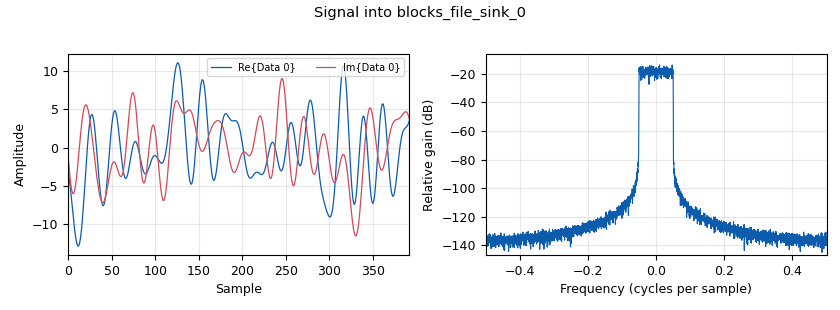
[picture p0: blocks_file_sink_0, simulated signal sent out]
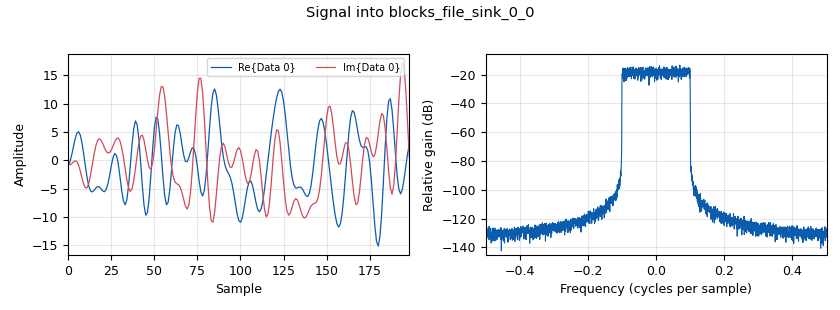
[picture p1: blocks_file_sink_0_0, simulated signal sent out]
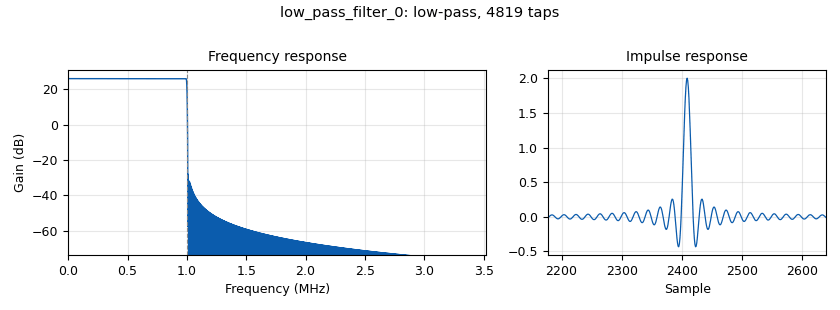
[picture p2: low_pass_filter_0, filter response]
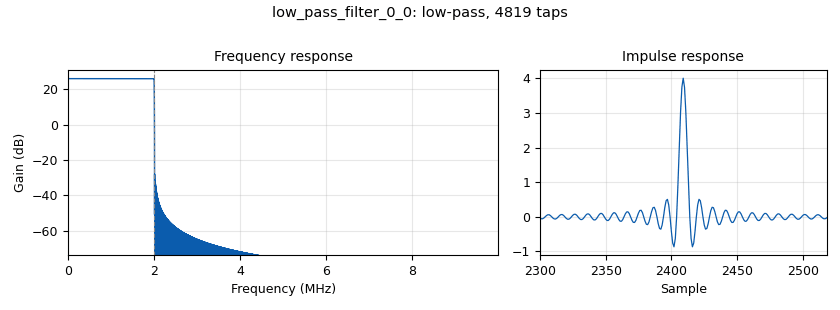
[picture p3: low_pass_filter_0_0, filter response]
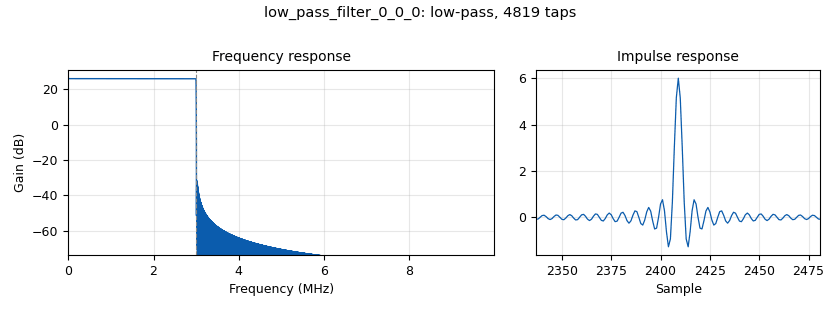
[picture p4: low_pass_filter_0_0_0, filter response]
<?xml version='1.0' encoding='utf-8'?>
<?grc format='1' created='3.7.12'?>
<flow_graph>
<block>
<key>options</key>
<param><key>id</key><value>top_block</value></param>
<param><key>generate_options</key><value>qt_gui</value></param>
</block>
<block>
<key>variable</key>
<param><key>id</key><value>samp_rate</value></param>
<param><key>value</key><value>20e6</value></param>
</block>
<block>
<key>analog_noise_source_x</key>
<param><key>id</key><value>analog_noise_source_x_0</value></param>
<param><key>amp</key><value>1</value></param>
<param><key>noise_type</key><value>analog.GR_GAUSSIAN</value></param>
<param><key>type</key><value>complex</value></param>
<param><key>seed</key><value>0</value></param>
</block>
<block>
<key>blocks_file_sink</key>
<param><key>id</key><value>blocks_file_sink_0</value></param>
<param><key>file</key><value>/home/john/myprefix/2mhznoisedata</value></param>
<param><key>type</key><value>complex</value></param>
</block>
<block>
<key>blocks_file_sink</key>
<param><key>id</key><value>blocks_file_sink_0_0</value></param>
<param><key>file</key><value>/home/john/myprefix/4mhznoisedata</value></param>
<param><key>type</key><value>complex</value></param>
</block>
<block>
<key>blocks_file_sink</key>
<param><key>id</key><value>blocks_file_sink_0_1</value></param>
<param><key>file</key><value>/home/john/myprefix/6mhznoisedata</value></param>
<param><key>type</key><value>complex</value></param>
</block>
<block>
<key>blocks_file_source</key>
<param><key>id</key><value>blocks_file_source_0</value></param>
<param><key>file</key><value>/home/john/justdump</value></param>
<param><key>type</key><value>complex</value></param>
<param><key>repeat</key><value>True</value></param>
</block>
<block>
<key>low_pass_filter</key>
<param><key>id</key><value>low_pass_filter_0</value></param>
<param><key>cutoff_freq</key><value>1e6</value></param>
<param><key>decim</key><value>1</value></param>
<param><key>type</key><value>fir_filter_ccf</value></param>
<param><key>gain</key><value>20</value></param>
<param><key>samp_rate</key><value>samp_rate</value></param>
<param><key>width</key><value>10000</value></param>
<param><key>win</key><value>firdes.WIN_HAMMING</value></param>
</block>
<block>
<key>low_pass_filter</key>
<param><key>id</key><value>low_pass_filter_0_0</value></param>
<param><key>cutoff_freq</key><value>2e6</value></param>
<param><key>decim</key><value>1</value></param>
<param><key>type</key><value>fir_filter_ccf</value></param>
<param><key>gain</key><value>20</value></param>
<param><key>samp_rate</key><value>samp_rate</value></param>
<param><key>width</key><value>10000</value></param>
<param><key>win</key><value>firdes.WIN_HAMMING</value></param>
</block>
<block>
<key>low_pass_filter</key>
<param><key>id</key><value>low_pass_filter_0_0_0</value></param>
<param><key>cutoff_freq</key><value>3e6</value></param>
<param><key>decim</key><value>1</value></param>
<param><key>type</key><value>fir_filter_ccf</value></param>
<param><key>gain</key><value>20</value></param>
<param><key>samp_rate</key><value>samp_rate</value></param>
<param><key>width</key><value>10000</value></param>
<param><key>win</key><value>firdes.WIN_HAMMING</value></param>
</block>
<block>
<key>qtgui_freq_sink_x</key>
<param><key>id</key><value>qtgui_freq_sink_x_0</value></param>
<param><key>bw</key><value>samp_rate</value></param>
<param><key>fc</key><value>0</value></param>
<param><key>fftsize</key><value>1024</value></param>
<param><key>label2</key><value></value></param>
<param><key>label3</key><value></value></param>
<param><key>label4</key><value></value></param>
<param><key>nconnections</key><value>4</value></param>
<param><key>showports</key><value>True</value></param>
<param><key>type</key><value>complex</value></param>
<param><key>wintype</key><value>firdes.WIN_BLACKMAN_hARRIS</value></param>
</block>
<connection><source_block_id>analog_noise_source_x_0</source_block_id><sink_block_id>low_pass_filter_0</sink_block_id><source_key>0</source_key><sink_key>0</sink_key></connection>
<connection><source_block_id>analog_noise_source_x_0</source_block_id><sink_block_id>low_pass_filter_0_0</sink_block_id><source_key>0</source_key><sink_key>0</sink_key></connection>
<connection><source_block_id>analog_noise_source_x_0</source_block_id><sink_block_id>low_pass_filter_0_0_0</sink_block_id><source_key>0</source_key><sink_key>0</sink_key></connection>
<connection><source_block_id>blocks_file_source_0</source_block_id><sink_block_id>qtgui_freq_sink_x_0</sink_block_id><source_key>0</source_key><sink_key>0</sink_key></connection>
<connection><source_block_id>low_pass_filter_0</source_block_id><sink_block_id>blocks_file_sink_0</sink_block_id><source_key>0</source_key><sink_key>0</sink_key></connection>
<connection><source_block_id>low_pass_filter_0</source_block_id><sink_block_id>qtgui_freq_sink_x_0</sink_block_id><source_key>0</source_key><sink_key>1</sink_key></connection>
<connection><source_block_id>low_pass_filter_0_0</source_block_id><sink_block_id>blocks_file_sink_0_0</sink_block_id><source_key>0</source_key><sink_key>0</sink_key></connection>
<connection><source_block_id>low_pass_filter_0_0</source_block_id><sink_block_id>qtgui_freq_sink_x_0</sink_block_id><source_key>0</source_key><sink_key>2</sink_key></connection>
<connection><source_block_id>low_pass_filter_0_0_0</source_block_id><sink_block_id>blocks_file_sink_0_1</sink_block_id><source_key>0</source_key><sink_key>0</sink_key></connection>
<connection><source_block_id>low_pass_filter_0_0_0</source_block_id><sink_block_id>qtgui_freq_sink_x_0</sink_block_id><source_key>0</source_key><sink_key>3</sink_key></connection>
</flow_graph>
